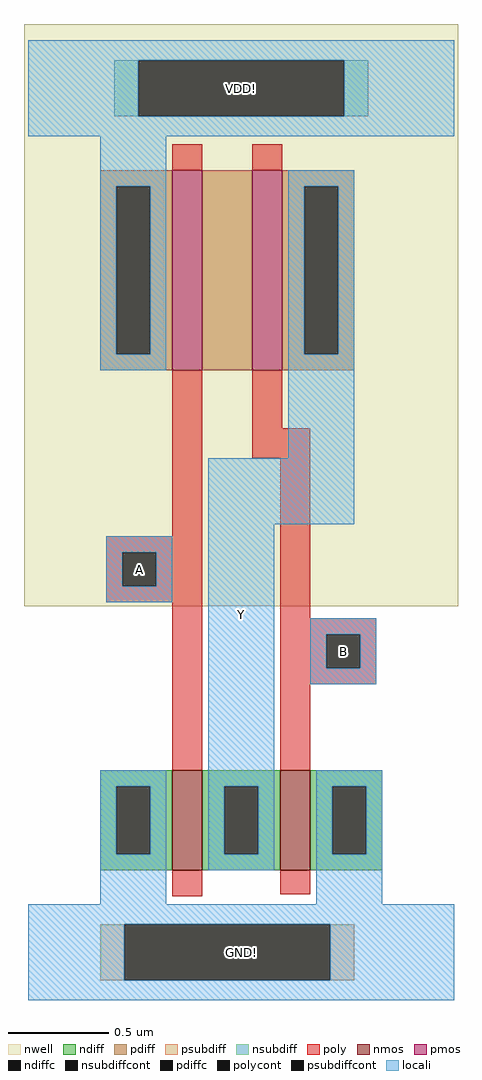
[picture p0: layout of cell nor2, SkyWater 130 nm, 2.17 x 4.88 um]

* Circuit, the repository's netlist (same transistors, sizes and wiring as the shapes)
* NGSPICE file created from nor2.ext - technology: sky130A

*.subckt nor2 VDD GND Y A B
X0 Y A GND GND sky130_fd_pr__nfet_01v8 ad=1.95e+11p pd=1.78e+06u as=3.6e+11p ps=3.44e+06u w=500000u l=150000u
X1 GND B Y GND sky130_fd_pr__nfet_01v8 ad=0p pd=0u as=0p ps=0u w=500000u l=150000u
X2 Y B a_94_506# VDD sky130_fd_pr__pfet_01v8 ad=3.6e+11p pd=2.72e+06u as=2.5e+11p ps=2.5e+06u w=1e+06u l=150000u
X3 a_94_506# A VDD VDD sky130_fd_pr__pfet_01v8 ad=0p pd=0u as=3.6e+11p ps=2.72e+06u w=1e+06u l=150000u
*.ends

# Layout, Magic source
magic
tech sky130A
<< nwell >>
rect -42 135 175 426
<< nmos >>
rect 32 3 47 53
rect 86 3 101 53
<< pmos >>
rect 32 253 47 353
rect 72 253 87 353
<< ndiff >>
rect -4 45 32 53
rect -4 11 4 45
rect 21 11 32 45
rect -4 3 32 11
rect 47 45 86 53
rect 47 11 58 45
rect 75 11 86 45
rect 47 3 86 11
rect 101 45 137 53
rect 101 11 112 45
rect 129 11 137 45
rect 101 3 137 11
<< pdiff >>
rect -4 345 32 353
rect -4 261 4 345
rect 21 261 32 345
rect -4 253 32 261
rect 47 253 72 353
rect 87 345 123 353
rect 87 261 98 345
rect 115 261 123 345
rect 87 253 123 261
<< ndiffc >>
rect 4 11 21 45
rect 58 11 75 45
rect 112 11 129 45
<< pdiffc >>
rect 4 261 21 345
rect 98 261 115 345
<< psubdiff >>
rect -4 -52 8 -24
rect 111 -52 123 -24
<< nsubdiff >>
rect 3 380 15 408
rect 118 380 130 408
<< psubdiffcont >>
rect 8 -52 111 -24
<< nsubdiffcont >>
rect 15 380 118 408
<< poly >>
rect 32 353 47 366
rect 72 353 87 366
rect 32 170 47 253
rect 72 224 87 253
rect 72 209 101 224
rect -1 162 47 170
rect -1 145 7 162
rect 24 145 47 162
rect -1 137 47 145
rect 32 53 47 137
rect 86 129 101 209
rect 86 121 134 129
rect 86 104 109 121
rect 126 104 134 121
rect 86 96 134 104
rect 86 53 101 96
rect 32 -10 47 3
rect 86 -9 101 3
<< polycont >>
rect 7 145 24 162
rect 109 104 126 121
<< locali >>
rect -40 408 173 418
rect -40 380 15 408
rect 118 380 173 408
rect -40 370 173 380
rect -4 345 29 370
rect -4 261 4 345
rect 21 261 29 345
rect -4 253 29 261
rect 90 345 123 353
rect 90 261 98 345
rect 115 261 123 345
rect 90 209 123 261
rect 50 176 123 209
rect -1 162 32 170
rect -1 145 7 162
rect 24 145 32 162
rect -1 137 32 145
rect -4 45 29 53
rect -4 11 4 45
rect 21 11 29 45
rect -4 -14 29 11
rect 50 45 83 176
rect 101 121 134 129
rect 101 104 109 121
rect 126 104 134 121
rect 101 96 134 104
rect 50 11 58 45
rect 75 11 83 45
rect 50 3 83 11
rect 104 45 137 53
rect 104 11 112 45
rect 129 11 137 45
rect 104 -14 137 11
rect -40 -24 173 -14
rect -40 -52 8 -24
rect 111 -52 173 -24
rect -40 -62 173 -52
<< labels >>
flabel locali 101 96 134 129 0 FreeSerif 80 0 0 0 B
port 8 nsew
flabel locali -1 137 32 170 0 FreeSerif 80 0 0 0 A
port 3 nsew
flabel locali 50 53 83 209 0 FreeSerif 80 0 0 0 Y
port 2 nsew
flabel locali -40 370 173 418 0 FreeSerif 80 0 0 0 VDD!
port 0 nsew
flabel locali -40 -62 173 -14 0 FreeSerif 80 0 0 0 GND!
port 1 nsew
<< end >>
